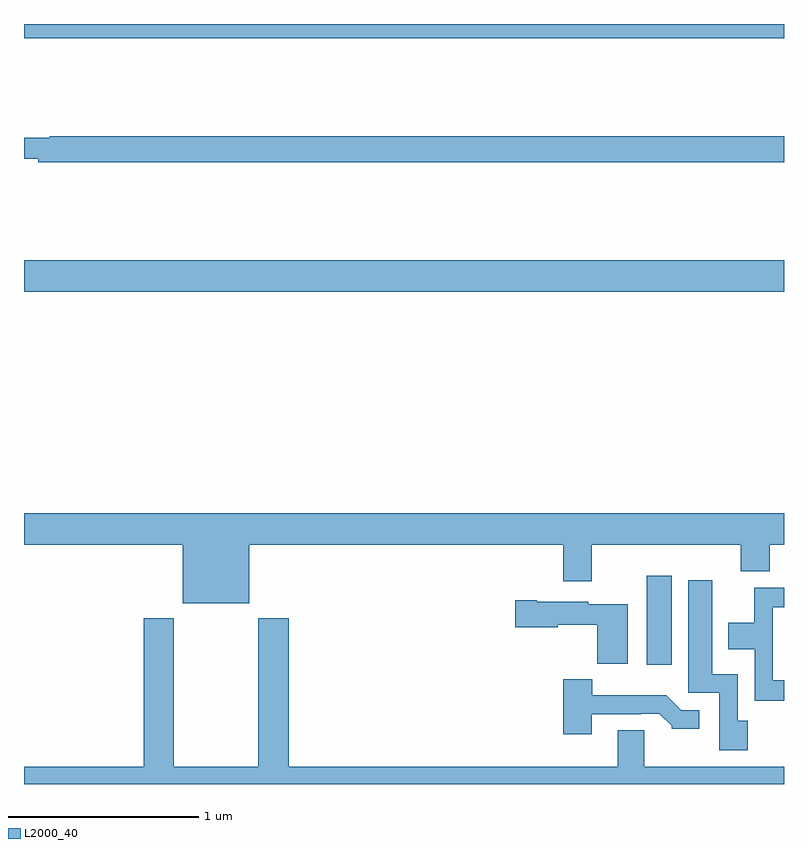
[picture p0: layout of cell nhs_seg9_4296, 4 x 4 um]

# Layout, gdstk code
import gdstk
lib = gdstk.Library(unit=1e-6, precision=1e-09)
def R(c, l, rs):  # rectangles x0, y0, x1, y1
    for r in rs: c.add(gdstk.rectangle(r[:2], r[2:], *l))
def P(c, l, *ps):  # polygons
    for p in ps: c.add(gdstk.Polygon(p, *l))
L2000_40 = (2000, 40)

nhs_seg9_4296 = lib.new_cell('nhs_seg9_4296')
R(nhs_seg9_4296, L2000_40, [(360.278,1189.128,360.409,1189.597), (357,1191.092,361,1191.256), (357,1192.424,361,1192.5)])
P(nhs_seg9_4296, L2000_40, [(361,1191.908),(357.136,1191.908),(357.136,1191.901),(357,1191.901),(357,1191.791),(357.076,1191.791),(357.076,1191.772),(361,1191.772)],
  [(358.186,1189.76),(359.837,1189.76),(359.837,1189.566),(359.989,1189.566),(359.989,1189.76),(360.773,1189.76),(360.773,1189.619),(360.925,1189.619),(360.925,1189.76),(361,1189.76),(361,1189.924),(357,1189.924),(357,1189.76),(357.836,1189.76),(357.836,1189.451),(358.186,1189.451)],
  [(360.809,1188.834),(360.756,1188.834),(360.756,1189.078),(360.622,1189.078),(360.622,1189.573),(360.497,1189.573),(360.497,1188.981),(360.66,1188.981),(360.66,1188.678),(360.809,1188.678)],
  [(361,1189.047),(360.942,1189.047),(360.942,1189.43),(361,1189.43),(361,1189.534),(360.844,1189.534),(360.844,1189.348),(360.707,1189.348),(360.707,1189.208),(360.846,1189.208),(360.846,1188.939),(361,1188.939)],
  [(360.178,1189.447),(359.97,1189.447),(359.97,1189.459),(359.698,1189.459),(359.698,1189.467),(359.586,1189.467),(359.586,1189.325),(359.808,1189.325),(359.808,1189.337),(360.016,1189.337),(360.016,1189.133),(360.178,1189.133)],
  [(361,1188.592),(360.265,1188.592),(360.265,1188.782),(360.125,1188.782),(360.125,1188.592),(358.394,1188.592),(358.394,1189.372),(358.234,1189.372),(358.234,1188.592),(357.789,1188.592),(357.789,1189.372),(357.629,1189.372),(357.629,1188.592),(357,1188.592),(357,1188.5),(361,1188.5)],
  [(359.989,1188.867),(360.245,1188.867),(360.245,1188.87),(360.344,1188.87),(360.408,1188.806),(360.408,1188.791),(360.553,1188.791),(360.553,1188.888),(360.459,1188.888),(360.381,1188.967),(359.992,1188.967),(359.992,1189.051),(359.837,1189.051),(359.837,1188.762),(359.989,1188.762)])

lib.write_gds('nhs_seg9_4296.gds')
